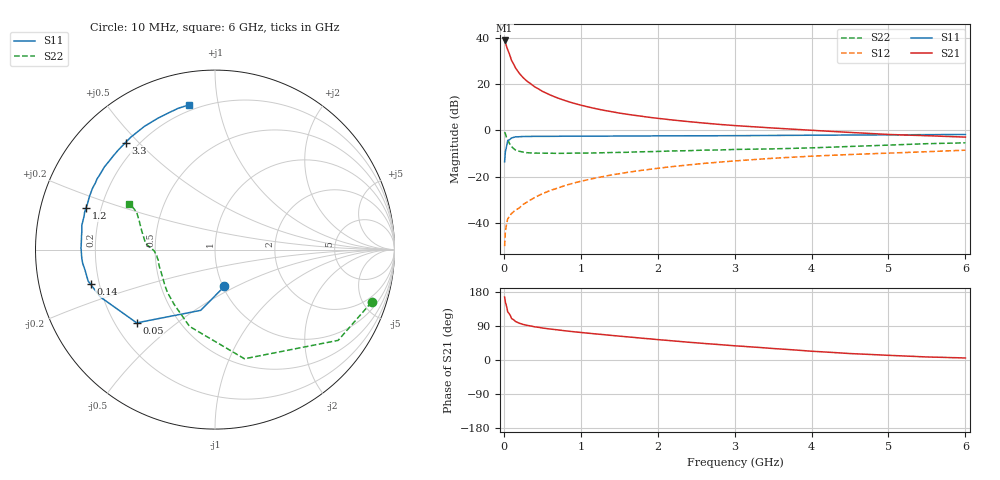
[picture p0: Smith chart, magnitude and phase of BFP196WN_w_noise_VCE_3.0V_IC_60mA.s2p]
! Infineon Technologies  Discrete & RF Semiconductors
! BFP196WN
! VCE =  3.0 V,  IC =  60 mA
! Common Emitter S-Parameters:  Jan 2017
# GHz  S  MA  R  50
!  f  S11  S21  S12  S22
! GHz  MAG  ANG  MAG  ANG  MAG  ANG  MAG  ANG
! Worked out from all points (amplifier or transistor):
!   77 points, 10 MHz to 6 GHz, reference 50 ohm
!   highest |S21| = 38.8 dB at 10 MHz (marker M1)
!   |S21| within 3 dB of that: start of sweep to 39.48 MHz
!   unconditionally stable (mu >= 1): 566.8 MHz to 2.737 GHz
!   at 130 MHz: K = 0.62, MSG = 31.7 dB, |S12| = -34.9 dB
!   at 2.2 GHz: K = 1.02, MAG = 9.2 dB, |S12| = -15.5 dB
!   at 6 GHz: K = 0.93, MSG = 2.8 dB, |S12| = -8.5 dB
!   lowest NFmin = 1.38 dB at 450 MHz
!   S11 on the Smith chart (normalised r, x): 10 MHz: 1.02, -0.44; 50 MHz: 0.29, -0.37; 140 MHz: 0.17, -0.13; 1.2 GHz: 0.14, +0.15; 3.3 GHz: 0.15, +0.46; 6 GHz: 0.17, +0.83
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0.01  0.2117 -75.8  87.36 166.1  0.0032 81.1  0.92 -18.6
0.02  0.3475 -103.2  78.45 152.6  0.0066 69.1  0.8523 -36.4
0.05  0.5975 -136.9  55.25 127.0  0.0124 50.3  0.63 -74.9
0.1  0.6911 -157.5  32.38 109.6  0.0161 51.0  0.451 -108.3
0.14  0.7197 -164.5  24.52 103.9  0.0185 51.7  0.3915 -122.5
0.15  0.7284 -166.1  22.61 101.8  0.0191 51.9  0.3811 -126.6
0.2  0.7332 -171.1  17.17 97.2  0.0213 55.4  0.3566 -138.0
0.25  0.7414 -174.2  13.83 93.9  0.0254 58.4  0.342 -145.1
0.3  0.7439 -176.7  11.59 91.5  0.0284 61.8  0.3319 -150.9
0.4  0.7465 179.3  8.748 87.5  0.0357 65.1  0.3251 -157.7
0.5  0.7459 176.5  7.01 84.5  0.0432 67.9  0.3243 -162.5
0.7  0.7494 171.8  5.013 79.5  0.0573 69.7  0.3212 -168.5
0.9  0.753 167.4  3.899 74.8  0.0728 69.6  0.3249 -171.9
1.1  0.7554 164.1  3.207 70.7  0.0874 69.2  0.3264 -174.6
1.2  0.7554 162.1  2.943 68.7  0.0949 68.7  0.3277 -175.5
1.6  0.7604 155.7  2.24 61.2  0.1245 66.6  0.3383 -178.6
2.1  0.7657 147.7  1.753 52.2  0.16 62.9  0.3577 178.5
3.1  0.7742 132.8  1.246 36.2  0.2265 54.4  0.3921 173.6
3.3  0.7773 129.9  1.187 33.4  0.239 52.7  0.3966 172.1
4.1  0.7919 118.6  0.989 22.0  0.2839 45.6  0.4278 164.1
5.1  0.8061 107.8  0.811 11.5  0.3294 37.8  0.4907 154.1
6  0.8194 100.0  0.72 5.3  0.376 31.9  0.5413 152.0
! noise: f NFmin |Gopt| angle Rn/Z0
0.45  1.38  0.55  -177  0.05
0.9  1.49  0.57  -169  0.06
1.9  2.42  0.69  -147  0.18
2.4  3.19  0.7  -139  0.3
